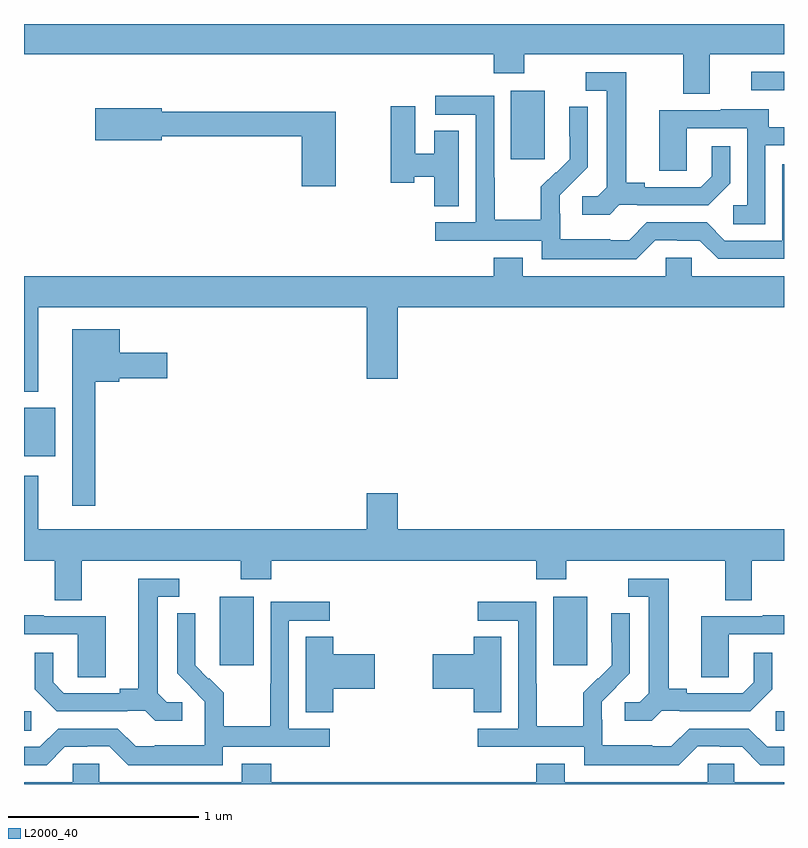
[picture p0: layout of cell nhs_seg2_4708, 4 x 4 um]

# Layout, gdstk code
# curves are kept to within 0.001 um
import gdstk
lib = gdstk.Library(unit=1e-6, precision=1e-09)
def R(c, l, rs):  # rectangles x0, y0, x1, y1
    for r in rs: c.add(gdstk.rectangle(r[:2], r[2:], *l))
def P(c, l, *ps):  # polygons
    for p in ps: c.add(gdstk.Polygon(p, *l))
L2000_40 = (2000, 40)

nhs_seg2_4708 = lib.new_cell('nhs_seg2_4708')
R(nhs_seg2_4708, L2000_40, [(367,640.081,367.039,640.182), (370.956,640.081,371,640.182), (368.03,640.425,368.209,640.786), (369.785,640.425,369.964,640.786), (367,641.525,367.165,641.779), (369.563,643.089,369.742,643.45), (370.827,643.452,371,643.548)])
P(nhs_seg2_4708, L2000_40, [(370.609,643.64),(371,643.64),(371,643.8),(367,643.8),(367,643.64),(369.473,643.64),(369.473,643.541),(369.633,643.541),(369.633,643.64),(370.469,643.64),(370.469,643.432),(370.609,643.432)],
  [(370.134,642.849),(370.228,642.849),(370.228,642.846),(370.6,642.846),(370.716,642.962),(370.716,643.156),(370.619,643.156),(370.619,642.999),(370.562,642.942),(370.267,642.942),(370.267,642.965),(370.171,642.965),(370.171,643.545),(369.957,643.545),(369.957,643.449),(370.067,643.449),(370.067,642.941),(370.02,642.894),(369.939,642.894),(369.939,642.797),(370.082,642.797)],
  [(370.323,642.663),(370.439,642.663),(370.439,642.66),(370.557,642.66),(370.653,642.564),(371,642.564),(371,643.062),(370.992,643.062),(370.992,642.66),(370.689,642.66),(370.593,642.756),(370.278,642.756),(370.185,642.663),(370.085,642.663),(370.085,642.667),(369.822,642.667),(369.822,642.801),(369.82,642.801),(369.82,642.898),(369.966,643.046),(369.966,643.364),(369.87,643.364),(369.87,643.21),(369.872,643.21),(369.872,643.088),(369.801,643.017),(369.798,643.02),(369.721,642.943),(369.721,642.769),(369.477,642.769),(369.477,642.992),(369.474,642.992),(369.474,643.422),(369.165,643.422),(369.165,643.323),(369.378,643.323),(369.378,642.756),(369.165,642.756),(369.165,642.66),(369.726,642.66),(369.726,642.563),(370.223,642.563)],
  [(369.289,643.238),(369.158,643.238),(369.158,643.117),(369.058,643.117),(369.058,643.366),(368.929,643.366),(368.929,642.965),(369.054,642.965),(369.054,642.995),(369.158,642.995),(369.158,642.841),(369.289,642.841)],
  [(368.64,643.339),(367.726,643.339),(367.726,643.357),(367.374,643.357),(367.374,643.187),(367.726,643.187),(367.726,643.21),(368.462,643.21),(368.462,642.945),(368.64,642.945)],
  [(370.902,643.161),(371,643.161),(371,643.257),(370.921,643.257),(370.921,643.351),(370.667,643.351),(370.667,643.347),(370.343,643.347),(370.343,643.027),(370.488,643.027),(370.488,643.251),(370.806,643.251),(370.806,642.846),(370.734,642.846),(370.734,642.745),(370.902,642.745)],
  [(367.075,642.308),(368.804,642.308),(368.804,641.934),(368.968,641.934),(368.968,642.308),(371,642.308),(371,642.472),(370.515,642.472),(370.515,642.57),(370.377,642.57),(370.377,642.472),(369.625,642.472),(369.625,642.571),(369.473,642.571),(369.473,642.472),(367,642.472),(367,641.864),(367.075,641.864)],
  [(367.375,641.918),(367.5,641.918),(367.5,641.936),(367.753,641.936),(367.753,642.07),(367.504,642.07),(367.504,642.193),(367.253,642.193),(367.253,641.265),(367.375,641.265)],
  [(367.075,641.422),(367,641.422),(367,640.976),(367.163,640.976),(367.163,640.768),(367.303,640.768),(367.303,640.976),(368.14,640.976),(368.14,640.877),(368.3,640.877),(368.3,640.976),(369.695,640.976),(369.695,640.877),(369.855,640.877),(369.855,640.976),(370.691,640.976),(370.691,640.768),(370.831,640.768),(370.831,640.976),(371,640.976),(371,641.14),(368.968,641.14),(368.968,641.329),(368.804,641.329),(368.804,641.14),(367.075,641.14)],
  [(370.356,640.185),(370.45,640.185),(370.45,640.182),(370.822,640.182),(370.938,640.298),(370.938,640.492),(370.841,640.492),(370.841,640.335),(370.784,640.278),(370.489,640.278),(370.489,640.301),(370.393,640.301),(370.393,640.881),(370.179,640.881),(370.179,640.785),(370.289,640.785),(370.289,640.277),(370.242,640.23),(370.161,640.23),(370.161,640.133),(370.304,640.133)],
  [(367.834,640.23),(367.752,640.23),(367.705,640.277),(367.705,640.785),(367.816,640.785),(367.816,640.881),(367.601,640.881),(367.601,640.301),(367.505,640.301),(367.505,640.278),(367.21,640.278),(367.153,640.335),(367.153,640.492),(367.056,640.492),(367.056,640.298),(367.172,640.182),(367.544,640.182),(367.544,640.185),(367.638,640.185),(367.69,640.133),(367.834,640.133)],
  [(370.545,639.999),(370.661,639.999),(370.661,639.996),(370.779,639.996),(370.875,639.9),(371,639.9),(371,639.996),(370.911,639.996),(370.815,640.092),(370.5,640.092),(370.407,639.999),(370.307,639.999),(370.307,640.003),(370.044,640.003),(370.044,640.137),(370.042,640.137),(370.042,640.234),(370.188,640.382),(370.188,640.7),(370.092,640.7),(370.092,640.546),(370.094,640.546),(370.094,640.424),(370.023,640.353),(370.02,640.356),(369.943,640.279),(369.943,640.105),(369.699,640.105),(369.699,640.328),(369.696,640.328),(369.696,640.758),(369.387,640.758),(369.387,640.659),(369.6,640.659),(369.6,640.092),(369.387,640.092),(369.387,639.996),(369.948,639.996),(369.948,639.899),(370.445,639.899)],
  [(368.046,639.996),(368.608,639.996),(368.608,640.092),(368.394,640.092),(368.394,640.659),(368.608,640.659),(368.608,640.758),(368.298,640.758),(368.298,640.328),(368.296,640.328),(368.296,640.105),(368.051,640.105),(368.051,640.279),(367.974,640.356),(367.971,640.353),(367.901,640.424),(367.902,640.7),(367.806,640.7),(367.806,640.382),(367.952,640.234),(367.952,640.137),(367.95,640.137),(367.95,640.003),(367.687,640.003),(367.687,639.999),(367.587,639.999),(367.494,640.092),(367.179,640.092),(367.083,639.996),(367,639.996),(367,639.9),(367.119,639.9),(367.215,639.996),(367.334,639.996),(367.334,639.999),(367.449,639.999),(367.549,639.899),(368.046,639.899)],
  [(370.71,640.587),(371,640.587),(371,640.687),(370.889,640.687),(370.889,640.683),(370.565,640.683),(370.565,640.363),(370.71,640.363)],
  [(367.429,640.683),(367.105,640.683),(367.105,640.687),(367,640.687),(367,640.587),(367.284,640.587),(367.284,640.363),(367.429,640.363)],
  [(369.511,640.574),(369.368,640.574),(369.368,640.484),(369.15,640.484),(369.15,640.301),(369.368,640.301),(369.368,640.177),(369.511,640.177)],
  [(368.627,640.301),(368.845,640.301),(368.845,640.484),(368.627,640.484),(368.627,640.574),(368.483,640.574),(368.483,640.177),(368.627,640.177)],
  [(367.395,639.906),(367.257,639.906),(367.257,639.808),(367,639.808),(367,639.8),(371,639.8),(371,639.808),(370.737,639.808),(370.737,639.906),(370.599,639.906),(370.599,639.808),(369.847,639.808),(369.847,639.907),(369.695,639.907),(369.695,639.808),(368.3,639.808),(368.3,639.907),(368.147,639.907),(368.147,639.808),(367.395,639.808)])

lib.write_gds('nhs_seg2_4708.gds')
